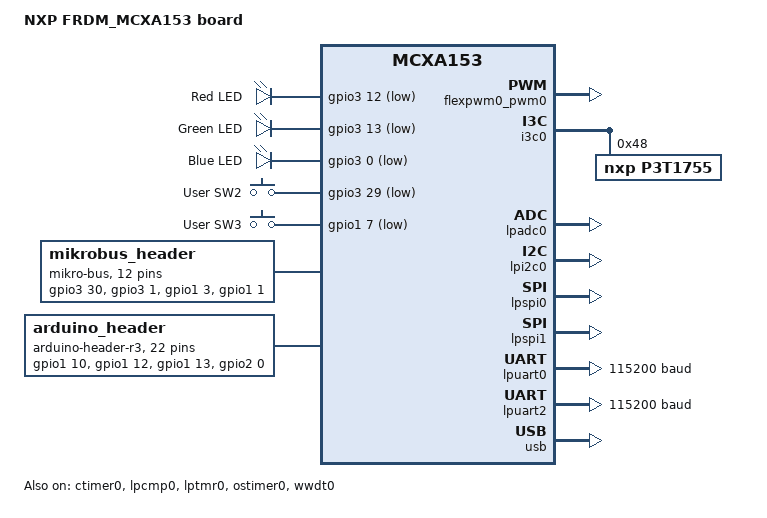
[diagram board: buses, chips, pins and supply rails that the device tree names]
/*
 * Copyright 2025 NXP
 *
 * SPDX-License-Identifier: Apache-2.0
 */

/dts-v1/;

#include <nxp/nxp_mcxa153.dtsi>
#include "frdm_mcxa153-pinctrl.dtsi"
#include <zephyr/dt-bindings/input/input-event-codes.h>
#include <zephyr/dt-bindings/gpio/arduino-header-r3.h>
#include <freq.h>

/ {
	model = "NXP FRDM_MCXA153 board";
	compatible = "nxp,mcxa153", "nxp,mcx";

	aliases {
		led0 = &red_led;
		led1 = &green_led;
		led2 = &blue_led;
		sw0 = &user_button_2;
		sw1 = &user_button_3;
		pwm-0 = &flexpwm0_pwm0;
		watchdog0 = &wwdt0;
		ambient-temp0 = &p3t1755;
		die-temp0 = &temp0;
	};

	chosen {
		zephyr,sram = &sram0;
		zephyr,flash = &flash;
		zephyr,flash-controller = &fmu;
		zephyr,code-partition = &slot0_partition;
		zephyr,console = &lpuart0;
		zephyr,shell-uart = &lpuart0;
	};

	leds {
		compatible = "gpio-leds";

		red_led: led_0 {
			gpios = <&gpio3 12 GPIO_ACTIVE_LOW>;
			label = "Red LED";
		};

		green_led: led_1 {
			gpios = <&gpio3 13 GPIO_ACTIVE_LOW>;
			label = "Green LED";
		};

		blue_led: led_2 {
			gpios = <&gpio3 0 GPIO_ACTIVE_LOW>;
			label = "Blue LED";
		};
	};

	gpio_keys {
		compatible = "gpio-keys";

		user_button_2: button_2 {
			label = "User SW2";
			gpios = <&gpio3 29 GPIO_ACTIVE_LOW>;
			zephyr,code = <INPUT_KEY_0>;
		};

		user_button_3: button_3 {
			label = "User SW3";
			gpios = <&gpio1 7 GPIO_ACTIVE_LOW>;
			zephyr,code = <INPUT_KEY_1>;
		};
	};

	mikrobus_header: mikrobus-connector {
		compatible = "mikro-bus";
		#gpio-cells = <2>;
		gpio-map-mask = <0xffffffff 0xffffffc0>;
		gpio-map-pass-thru = <0 0x3f>;
		gpio-map = <0 0 &gpio3 30 0>,  /* AN */
			   <1 0 &gpio3 1 0>,   /* RST */
			   <2 0 &gpio1 3 0>,   /* CS */
			   <3 0 &gpio1 1 0>,   /* SCK */
			   <4 0 &gpio1 2 0>,   /* MISO */
			   <5 0 &gpio1 0 0>,   /* MOSI */
			   <6 0 &gpio3 12 0>,  /* PWM */
			   <7 0 &gpio2 5 0>,   /* INT */
			   <8 0 &gpio3 14 0>,  /* RX */
			   <9 0 &gpio3 15 0>,  /* TX */
			   <10 0 &gpio3 27 0>, /* GPIO, Not a SCL  */
			   <11 0 &gpio3 28 0>; /* GPIO, Not a SDA  */
	};

	arduino_header: arduino-connector {
		compatible = "arduino-header-r3";
		#gpio-cells = <2>;
		gpio-map-mask = <0xffffffff 0xffffffc0>;
		gpio-map-pass-thru = <0 0x3f>;
		gpio-map = <ARDUINO_HEADER_R3_A0 0 &gpio1 10 0>,
			   <ARDUINO_HEADER_R3_A1 0 &gpio1 12 0>,
			   <ARDUINO_HEADER_R3_A2 0 &gpio1 13 0>,
			   <ARDUINO_HEADER_R3_A3 0 &gpio2 0 0>,
			   <ARDUINO_HEADER_R3_A4 0 &gpio3 31 0>,
			   <ARDUINO_HEADER_R3_A5 0 &gpio3 30 0>,
			   <ARDUINO_HEADER_R3_D0 0 &gpio1 4 0>,   /* GPIO, Not a RX */
			   <ARDUINO_HEADER_R3_D1 0 &gpio1 5 0>,   /* GPIO, Not a TX */
			   <ARDUINO_HEADER_R3_D2 0 &gpio2 4 0>,
			   <ARDUINO_HEADER_R3_D3 0 &gpio3 0 0>,
			   <ARDUINO_HEADER_R3_D4 0 &gpio2 5 0>,
			   <ARDUINO_HEADER_R3_D5 0 &gpio3 12 0>,
			   <ARDUINO_HEADER_R3_D6 0 &gpio3 13 0>,
			   <ARDUINO_HEADER_R3_D7 0 &gpio3 1 0>,
			   <ARDUINO_HEADER_R3_D8 0 &gpio3 15 0>,
			   <ARDUINO_HEADER_R3_D9 0 &gpio3 14 0>,
			   <ARDUINO_HEADER_R3_D10 0 &gpio2 6 0>,  /* CS */
			   <ARDUINO_HEADER_R3_D11 0 &gpio2 13 0>, /* MOSI */
			   <ARDUINO_HEADER_R3_D12 0 &gpio2 16 0>, /* MISO */
			   <ARDUINO_HEADER_R3_D13 0 &gpio2 12 0>, /* SCK */
			   <ARDUINO_HEADER_R3_D14 0 &gpio1 8 0>,  /* SDA */
			   <ARDUINO_HEADER_R3_D15 0 &gpio1 9 0>;  /* SCL */
	};
};

&cpu0 {
	clock-frequency = <96000000>;
};

&ctimer0 {
	status = "okay";
};

&edma0 {
	status = "okay";
};

&flash {
	partitions {
		compatible = "fixed-partitions";
		#address-cells = <1>;
		#size-cells = <1>;

		boot_partition: partition@0 {
			label = "mcuboot";
			reg = <0x00000000 DT_SIZE_K(32)>;
			read-only;
		};

		slot0_partition: partition@8000 {
			label = "image-0";
			reg = <0x00008000 DT_SIZE_K(40)>;
		};

		slot1_partition: partition@12000 {
			label = "image-1";
			reg = <0x00012000 DT_SIZE_K(40)>;
		};

		storage_partition: partition@1C000 {
			label = "storage";
			reg = <0x0001C000 DT_SIZE_K(16)>;
		};
	};
};

&flexpwm0_pwm0 {
	status = "okay";
	pinctrl-0 = <&pinmux_flexpwm0_pwm0>;
	pinctrl-names = "default";
};

&gpio0 {
	status = "okay";
};

&gpio1 {
	status = "okay";
};

&gpio2 {
	status = "okay";
};

&gpio3 {
	status = "okay";
};

&i3c0 {
	status = "okay";
	pinctrl-0 = <&pinmux_i3c0>;
	pinctrl-names = "default";

	i2c-scl-hz = <DT_FREQ_K(400)>;
	i3c-scl-hz = <DT_FREQ_M(4)>;
	i3c-od-scl-hz = <DT_FREQ_K(1500)>;

	p3t1755: p3t1755@4800000236152a0090 {
		compatible = "nxp,p3t1755";
		reg = <0x48 0x0236 0x152a0090>;
		status = "okay";
	};
};

&lpadc0 {
	status = "okay";
	pinctrl-0 = <&pinmux_lpadc0>;
	pinctrl-names = "default";
};

&lpcmp0 {
	status = "okay";
	pinctrl-0 = <&pinmux_lpcmp0>;
	pinctrl-names = "default";
};

&lpi2c0 {
	status = "okay";
	pinctrl-0 = <&pinmux_lpi2c0>;
	pinctrl-names = "default";
};

arduino_i2c: &lpi2c0 {};

&lpspi0 {
	status = "okay";
	pinctrl-0 = <&pinmux_lpspi0>;
	pinctrl-names = "default";
};

mikrobus_spi: &lpspi0 {};

&lpspi1 {
	status = "okay";
	pinctrl-0 = <&pinmux_lpspi1>;
	pinctrl-names = "default";
};

arduino_spi: &lpspi1 {};

&lptmr0 {
	status = "okay";
};

&lpuart0 {
	status = "okay";
	current-speed = <115200>;
	pinctrl-0 = <&pinmux_lpuart0>;
	pinctrl-names = "default";
};

&lpuart2 {
	status = "okay";
	current-speed = <115200>;
	pinctrl-0 = <&pinmux_lpuart2>;
	pinctrl-names = "default";
};

mikrobus_serial: &lpuart2 {};

/*
 * Uses OS timer as the kernel timer
 */
&ostimer0 {
	status = "okay";
};

zephyr_udc0: &usb {
	status = "okay";
};

&wwdt0 {
	status = "okay";
};
